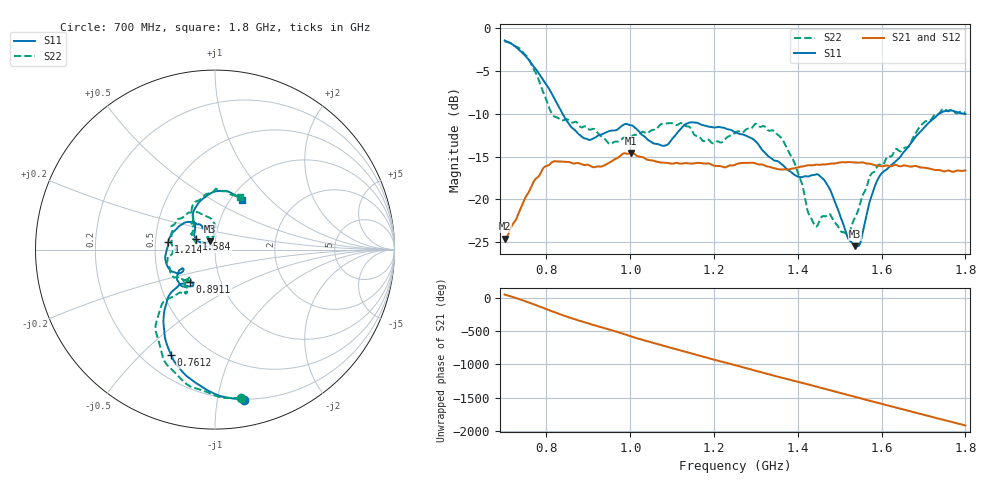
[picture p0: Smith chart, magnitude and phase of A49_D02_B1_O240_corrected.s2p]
! Created with skrf 1.9.0 (http://scikit-rf.org).
# Hz S RI R 50.0
!freq ReS11 ImS11 ReS21 ImS21 ReS12 ImS12 ReS22 ImS22
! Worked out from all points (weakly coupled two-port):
!   1601 points, 700 MHz to 1.8 GHz, reference 50 ohm
!   highest |S21| = -14.56 dB at 1.002 GHz (marker M1); lowest = -24.6 dB at 700 MHz (marker M2)
!   lowest |S11| = -25.5 dB at 1.537 GHz (marker M3), VSWR 1.11, Z = 47.3 + j4.4 ohm
!   |S11| at or under -10 dB: 838.6 MHz to 1.736 GHz (897.8 MHz wide, 69.7 % of centre); 1.798675 GHz to end of sweep
!   |S22| runs from -24.2 to -1.5 dB; largest |S21 - S12| = 0.0035
!   S11 on the Smith chart (normalised r, x): 700 MHz: 0.20, -1.19; 761.2 MHz: 0.31, -0.62; 891.1 MHz: 0.71, -0.27; 1.214 GHz: 0.58, +0.06; 1.584 GHz: 0.80, +0.09; 1.8 GHz: 1.12, +0.69
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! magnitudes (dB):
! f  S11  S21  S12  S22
! 700 MHz  -1.4  -24.6  -24.4  -1.5
! 761.2 MHz  -3.9  -18.8  -18.7  -3.9
! 814.8 MHz  -7.8  -15.6  -15.7  -10.1
! 883.6 MHz  -12.6  -15.9  -15.8  -11.6
! 891.1 MHz  -12.9  -16.0  -16.0  -11.4
! 951.6 MHz  -12.0  -15.7  -15.7  -13.5
! 1.002 GHz  -11.3  -14.6  -14.7  -12.7
! 1.067 GHz  -13.6  -15.6  -15.6  -11.5
! 1.141 GHz  -11.0  -15.8  -15.8  -11.5
! 1.214 GHz  -11.5  -16.1  -16.1  -13.3
! 1.25 GHz  -12.1  -16.0  -15.9  -12.2
! 1.359 GHz  -15.8  -16.5  -16.5  -12.7
! 1.394 GHz  -17.2  -16.3  -16.3  -15.9
! 1.434 GHz  -17.2  -16.0  -16.0  -22.4
! 1.471 GHz  -18.4  -15.9  -15.9  -21.8
! 1.517 GHz  -24.2  -15.6  -15.7  -24.1
! 1.537 GHz  -25.5  -15.7  -15.7  -22.1
! 1.55 GHz  -25.0  -15.7  -15.7  -20.2
! 1.584 GHz  -18.4  -16.0  -16.0  -16.7
! 1.617 GHz  -16.3  -16.1  -16.0  -15.0
! 1.738 GHz  -9.9  -16.6  -16.6  -9.9
! 1.8 GHz  -10.0  -16.6  -16.6  -9.9
